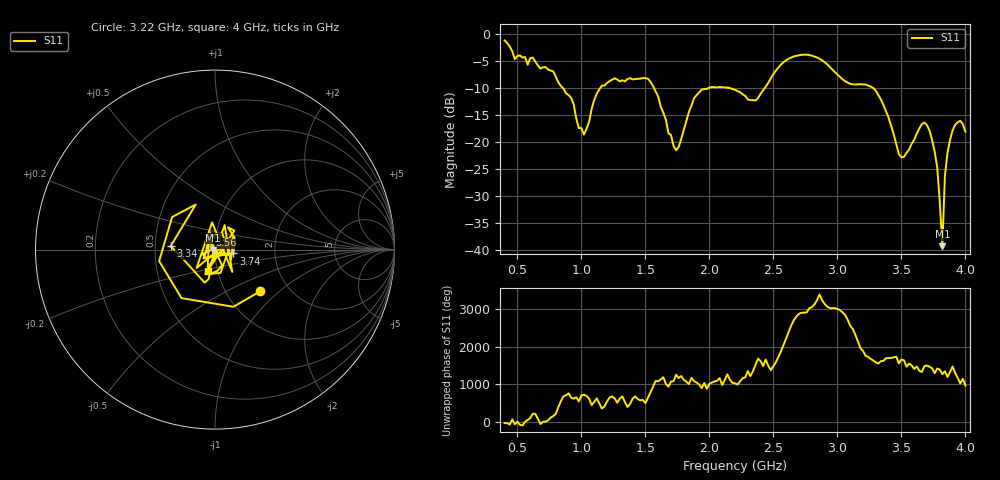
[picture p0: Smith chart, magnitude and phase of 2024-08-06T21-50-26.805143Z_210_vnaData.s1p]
!Created with skrf (http://scikit-rf.org).
# Hz S RI R 50.0
!freq ReS11 ImS11
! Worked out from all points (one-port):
!   181 points, 400 MHz to 4 GHz, reference 50 ohm
!   lowest |S11| = -39.3 dB at 3.82 GHz (marker M1), VSWR 1.02, Z = 49 - j0.233 ohm
!   |S11| at or under -10 dB: 857 MHz to 1.146 GHz (289.2 MHz wide, 28.9 % of centre); 1.568 GHz to 1.99 GHz (423 MHz wide, 23.8 % of centre); 3.282 GHz to end of sweep (the widest 3 of 4)
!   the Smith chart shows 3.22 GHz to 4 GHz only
!   S11 on the Smith chart (normalised r, x): 3.22 GHz: 1.43, -0.76; 3.34 GHz: 0.60, +0.02; 3.56 GHz: 0.93, +0.15; 3.74 GHz: 1.23, -0.05; 4 GHz: 0.90, -0.22
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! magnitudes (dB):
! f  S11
! 400 MHz  -1.1
! 480 MHz  -4.6
! 620 MHz  -4.3
! 860 MHz  -10.1
! 1.02 GHz  -18.6
! 1.14 GHz  -10.2
! 1.3 GHz  -8.7
! 1.52 GHz  -8.2
! 1.72 GHz  -20.7
! 1.76 GHz  -20.9
! 1.88 GHz  -11.9
! 1.94 GHz  -10.3
! 2.2 GHz  -10.3
! 2.36 GHz  -12.3
! 2.66 GHz  -4.1
! 3.1 GHz  -9.2
! 3.22 GHz  -9.3
! 3.34 GHz  -12.1
! 3.48 GHz  -22.2
! 3.56 GHz  -21.4
! 3.68 GHz  -16.4
! 3.74 GHz  -19.7
! 3.78 GHz  -24.7
! 3.82 GHz  -39.3
! 3.84 GHz  -26.3
! 3.88 GHz  -19.6
! 3.96 GHz  -16.1
! 4 GHz  -18.1
